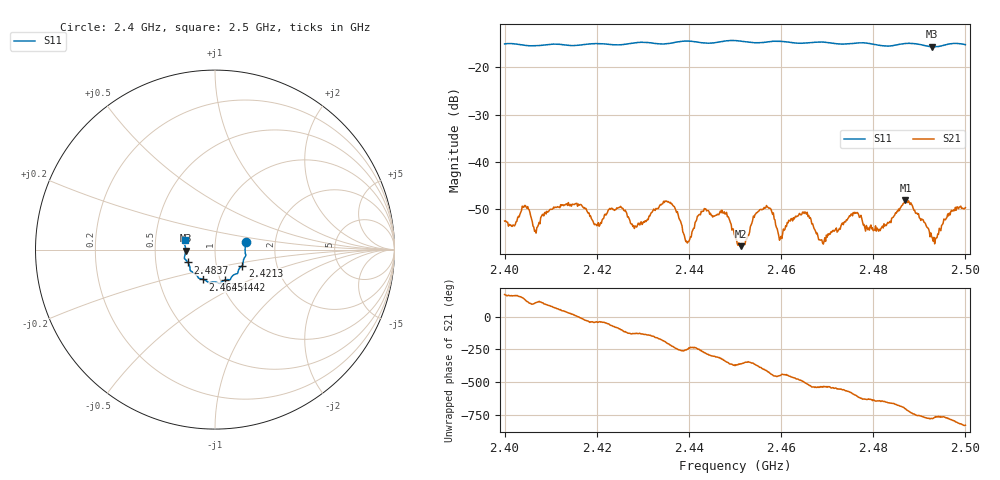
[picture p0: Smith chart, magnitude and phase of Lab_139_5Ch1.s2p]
# Hz S RI R 50
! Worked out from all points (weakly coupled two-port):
!   601 points, 2.4 GHz to 2.5 GHz, reference 50 ohm
!   highest |S21| = -48.09 dB at 2.487 GHz (marker M1); lowest = -57.7 dB at 2.4513 GHz (marker M2)
!   lowest |S11| = -15.7 dB at 2.4928 GHz (marker M3), VSWR 1.39, Z = 35.9 - j0.376 ohm
!   |S11| at or under -10 dB: start of sweep to end of sweep
!   S12 and S22 are empty: the file has one direction only
!   S11 on the Smith chart (normalised r, x): 2.4 GHz: 1.41, +0.12; 2.4213 GHz: 1.33, -0.25; 2.4442 GHz: 1.05, -0.37; 2.4645 GHz: 0.83, -0.29; 2.4837 GHz: 0.73, -0.11; 2.5 GHz: 0.71, +0.07
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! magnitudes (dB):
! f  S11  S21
! 2.4 GHz  -15.1  -52.4
! 2.4167 GHz  -15.3  -49.0
! 2.4213 GHz  -15.1  -52.0
! 2.4252 GHz  -15.3  -49.4
! 2.4283 GHz  -14.9  -53.5
! 2.4333 GHz  -15.1  -49.8
! 2.4365 GHz  -14.9  -49.2
! 2.4397 GHz  -14.5  -57.1
! 2.4442 GHz  -15.0  -50.2
! 2.45 GHz  -14.4  -55.8
! 2.4513 GHz  -14.5  -57.7
! 2.4558 GHz  -14.8  -50.1
! 2.4598 GHz  -14.6  -56.0
! 2.4645 GHz  -15.0  -51.0
! 2.4667 GHz  -14.8  -53.1
! 2.4688 GHz  -14.7  -56.4
! 2.4762 GHz  -15.0  -50.8
! 2.4833 GHz  -15.6  -52.8
! 2.4837 GHz  -15.5  -52.5
! 2.487 GHz  -15.0  -48.1
! 2.4928 GHz  -15.7  -56.0
! 2.5 GHz  -15.3  -49.6
